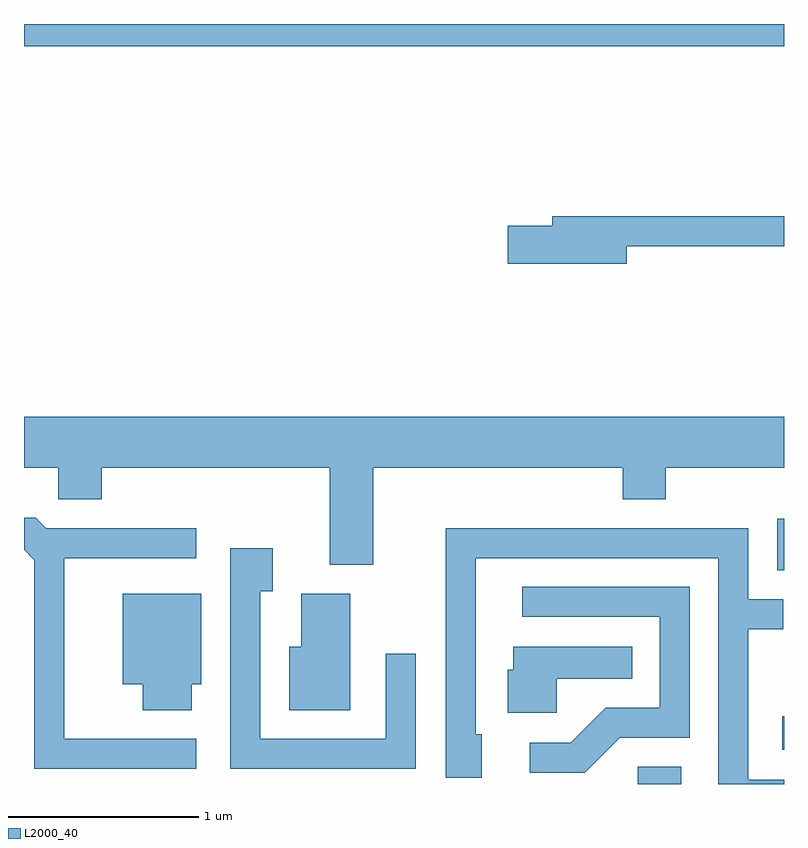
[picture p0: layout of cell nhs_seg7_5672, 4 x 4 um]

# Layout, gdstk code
import gdstk
lib = gdstk.Library(unit=1e-6, precision=1e-09)
def R(c, l, rs):  # rectangles x0, y0, x1, y1
    for r in rs: c.add(gdstk.rectangle(r[:2], r[2:], *l))
def P(c, l, *ps):  # polygons
    for p in ps: c.add(gdstk.Polygon(p, *l))
L2000_40 = (2000, 40)

nhs_seg7_5672 = lib.new_cell('nhs_seg7_5672')
R(nhs_seg7_5672, L2000_40, [(362.841,1668.252,363.069,1668.344), (363.601,1668.431,363.611,1668.609), (363.576,1669.376,363.611,1669.648), (359.611,1672.136,363.611,1672.252)])
P(nhs_seg7_5672, L2000_40, [(362.784,1671.081),(363.611,1671.081),(363.611,1671.239),(362.391,1671.239),(362.391,1671.189),(362.156,1671.189),(362.156,1670.991),(362.784,1670.991)],
  [(361.449,1669.916),(362.761,1669.916),(362.761,1669.751),(362.989,1669.751),(362.989,1669.916),(363.611,1669.916),(363.611,1670.184),(359.611,1670.184),(359.611,1669.916),(359.791,1669.916),(359.791,1669.751),(360.019,1669.751),(360.019,1669.916),(361.221,1669.916),(361.221,1669.406),(361.449,1669.406)],
  [(360.518,1668.489),(359.824,1668.489),(359.824,1669.441),(360.518,1669.441),(360.518,1669.599),(359.727,1669.599),(359.672,1669.654),(359.611,1669.654),(359.611,1669.484),(359.666,1669.429),(359.666,1668.331),(360.518,1668.331)],
  [(363.611,1668.274),(363.424,1668.274),(363.424,1669.066),(363.608,1669.066),(363.608,1669.224),(363.424,1669.224),(363.424,1669.599),(361.831,1669.599),(361.831,1668.286),(362.019,1668.286),(362.019,1668.514),(361.989,1668.514),(361.989,1669.441),(363.266,1669.441),(363.266,1668.252),(363.611,1668.252)],
  [(361.674,1668.938),(361.516,1668.938),(361.516,1668.489),(360.854,1668.489),(360.854,1669.266),(360.919,1669.266),(360.919,1669.494),(360.696,1669.494),(360.696,1668.331),(361.674,1668.331)],
  [(362.747,1668.496),(363.114,1668.496),(363.114,1669.289),(362.233,1669.289),(362.233,1669.131),(362.956,1669.131),(362.956,1668.654),(362.674,1668.654),(362.489,1668.469),(362.273,1668.469),(362.273,1668.311),(362.562,1668.311)],
  [(360.494,1668.776),(360.544,1668.776),(360.544,1669.254),(360.131,1669.254),(360.131,1668.776),(360.236,1668.776),(360.236,1668.641),(360.494,1668.641)],
  [(361.329,1669.254),(361.071,1669.254),(361.071,1668.974),(361.006,1668.974),(361.006,1668.641),(361.329,1668.641)],
  [(362.414,1668.806),(362.813,1668.806),(362.813,1668.974),(362.186,1668.974),(362.186,1668.854),(362.156,1668.854),(362.156,1668.626),(362.414,1668.626)])

lib.write_gds('nhs_seg7_5672.gds')
